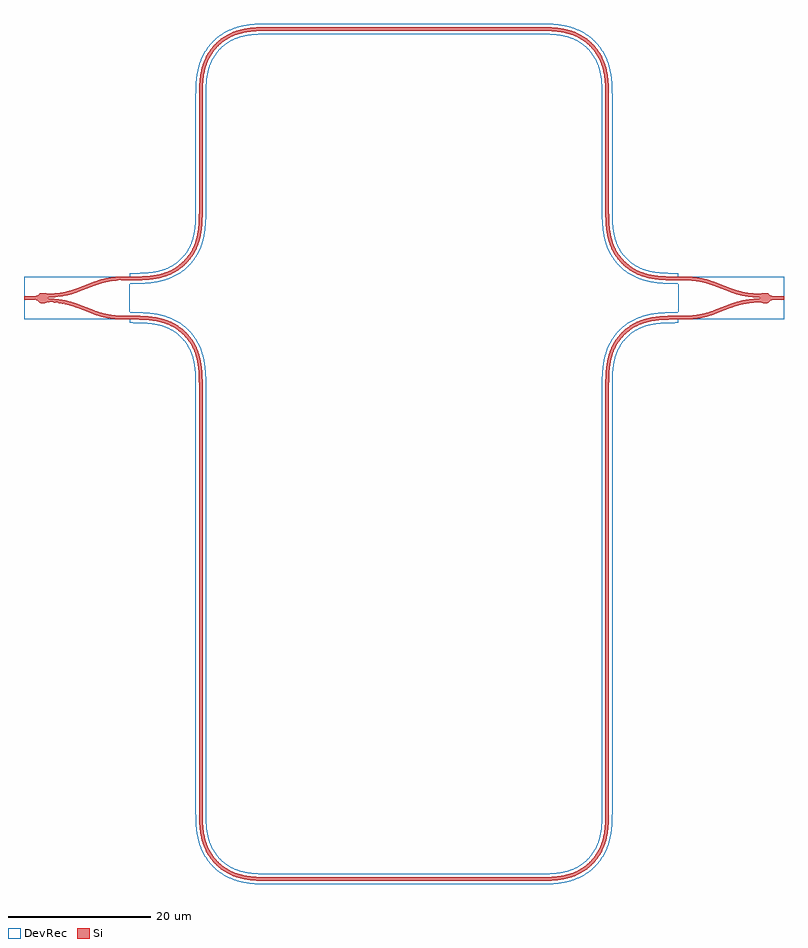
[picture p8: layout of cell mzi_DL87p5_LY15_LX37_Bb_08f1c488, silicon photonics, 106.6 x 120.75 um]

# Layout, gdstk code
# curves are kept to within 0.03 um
from math import pi, radians
import gdstk
lib = gdstk.Library(unit=1e-6, precision=1e-09)
def R(c, l, rs):  # rectangles x0, y0, x1, y1
    for r in rs: c.add(gdstk.rectangle(r[:2], r[2:], *l))
def P(c, l, *ps):  # polygons
    for p in ps: c.add(gdstk.Polygon(p, *l))
Si = (1, 0)
DevRec = (68, 0)

bend_euler_rnone_a90_p0_ = lib.new_cell('bend_euler_RNone_A90_P0_d7c3a5a9')
P(bend_euler_rnone_a90_p0_, Si, [(0,-0.25),(0,0.25),(1.655,0.269),(2.881,0.353),(3.952,0.52),(4.99,0.806),(5.731,1.113),(6.431,1.505),(7.079,1.976),(7.575,2.425),(8.024,2.921),(8.495,3.569),(8.887,4.269),(9.194,5.01),(9.48,6.048),(9.647,7.119),(9.731,8.345),(9.75,10),(10.25,10),(10.235,8.468),(10.158,7.205),(10.023,6.224),(9.797,5.254),(9.457,4.312),(9.066,3.545),(8.5,2.715),(7.928,2.072),(7.285,1.5),(6.455,0.934),(5.688,0.543),(4.746,0.203),(3.776,-0.023),(2.795,-0.158),(1.532,-0.235)])
P(bend_euler_rnone_a90_p0_, DevRec, [(0,-0.75),(0,0.75),(1.637,0.769),(2.697,0.837),(3.724,0.984),(4.466,1.163),(5.288,1.459),(5.95,1.797),(6.666,2.285),(7.221,2.779),(7.715,3.334),(8.203,4.05),(8.541,4.712),(8.837,5.534),(9.016,6.276),(9.163,7.303),(9.231,8.363),(9.25,10),(10.75,10),(10.735,8.453),(10.656,7.156),(10.488,5.989),(10.277,5.114),(9.915,4.111),(9.497,3.292),(8.893,2.406),(8.282,1.718),(7.594,1.107),(6.708,0.503),(5.889,0.085),(4.886,-0.277),(4.011,-0.488),(2.844,-0.656),(1.547,-0.735)])

straight_l15_n2_csstrip = lib.new_cell('straight_L15_N2_CSstrip')
R(straight_l15_n2_csstrip, Si, [(0,-0.25,15,0.25)])
R(straight_l15_n2_csstrip, DevRec, [(0,-0.75,15,0.75)])

straight_l58p75_n2_csstr = lib.new_cell('straight_L58p75_N2_CSstrip')
R(straight_l58p75_n2_csstr, Si, [(0,-0.25,58.75,0.25)])
R(straight_l58p75_n2_csstr, DevRec, [(0,-0.75,58.75,0.75)])

ebeam_y_1550 = lib.new_cell('ebeam_y_1550')
R(ebeam_y_1550, Si, [(6.5,-3,7.4,-2.5), (-7.4,-0.25,-6,0.25), (6.5,2.5,7.4,3)])
P(ebeam_y_1550, Si, [(6.458,-3),(6.237,-2.997),(6.237,-2.497),(6.5,-2.5),(6.5,-3)],
  [(5.033,-2.908),(3.59,-2.634),(2.265,-2.21),(2.445,-1.744),(3.731,-2.154),(5.033,-2.404)],
  [(6.233,-2.997),(5.033,-2.908),(5.033,-2.404),(6.237,-2.497)],
  [(2.265,-2.21),(0.055,-1.356),(0.235,-0.89),(2.445,-1.744)],
  [(-0.762,-1.076),(-2.334,-0.724),(-3.178,-0.63),(-4,-0.6),(-4,-0.1),(-2.381,-0.212),(-0.762,-0.555)],
  [(0.055,-1.356),(-0.762,-1.076),(-0.762,-0.555),(0.235,-0.89)],
  [(6.237,2.497),(6.237,2.997),(6.5,3),(6.5,2.5)],
  [(2.445,1.744),(2.267,2.211),(3.59,2.634),(5.033,2.908),(5.033,2.404),(3.731,2.154)],
  [(5.033,2.404),(5.033,2.908),(6.237,2.997),(6.237,2.497)],
  [(0.235,0.89),(0.055,1.356),(2.265,2.21),(2.445,1.744)],
  [(-4,0.1),(-4,0.6),(-3.178,0.63),(-2.334,0.724),(-0.762,1.076),(-0.762,0.555),(-2.381,0.212)],
  [(-0.762,0.555),(-0.762,1.076),(0.055,1.356),(0.235,0.89)],
  [(-5.122,-0.662),(-5.442,-0.374),(-5.808,-0.255),(-6,-0.25),(-6,0.25),(-5.817,0.253),(-5.442,0.374),(-5.122,0.662)],
  [(-4.957,-0.703),(-5.122,-0.662),(-5.122,0.662),(-4.538,0.703),(-4.167,0.6),(-4,0.6),(-4,-0.6),(-4.167,-0.6),(-4.509,-0.701)])
R(ebeam_y_1550, DevRec, [(-7.4,-3,7.4,3)])
ebeam_y_1550.add(gdstk.Label('Ref: Y Zhang, Opt. Express, 21/1, 2013', (-5.65,-1), layer=10, texttype=0))

straight_l37_n2_csstrip = lib.new_cell('straight_L37_N2_CSstrip')
R(straight_l37_n2_csstrip, Si, [(0,-0.25,37,0.25)])
R(straight_l37_n2_csstrip, DevRec, [(0,-0.75,37,0.75)])

mzi_dl87p5_ly15_lx37_bb_ = lib.new_cell('mzi_DL87p5_LY15_LX37_Bb_08f1c488')
mzi_dl87p5_ly15_lx37_bb_.add(gdstk.Reference(bend_euler_rnone_a90_p0_, (7.4,-2.75), x_reflection=True))
mzi_dl87p5_ly15_lx37_bb_.add(gdstk.Reference(bend_euler_rnone_a90_p0_, (17.4,-71.5), rotation=3*pi/2))
mzi_dl87p5_ly15_lx37_bb_.add(gdstk.Reference(bend_euler_rnone_a90_p0_, (7.4,2.75)))
mzi_dl87p5_ly15_lx37_bb_.add(gdstk.Reference(bend_euler_rnone_a90_p0_, (27.4,37.75), rotation=pi))
mzi_dl87p5_ly15_lx37_bb_.add(gdstk.Reference(bend_euler_rnone_a90_p0_, (74.4,27.75), rotation=pi/2))
mzi_dl87p5_ly15_lx37_bb_.add(gdstk.Reference(straight_l15_n2_csstrip, (74.4,12.75), rotation=pi/2))
mzi_dl87p5_ly15_lx37_bb_.add(gdstk.Reference(bend_euler_rnone_a90_p0_, (74.4,12.75), rotation=3*pi/2))
mzi_dl87p5_ly15_lx37_bb_.add(gdstk.Reference(bend_euler_rnone_a90_p0_, (64.4,-81.5)))
mzi_dl87p5_ly15_lx37_bb_.add(gdstk.Reference(straight_l58p75_n2_csstr, (74.4,-71.5), rotation=pi/2))
mzi_dl87p5_ly15_lx37_bb_.add(gdstk.Reference(bend_euler_rnone_a90_p0_, (84.4,-2.75), rotation=pi))
mzi_dl87p5_ly15_lx37_bb_.add(gdstk.Reference(ebeam_y_1550, (0,0)))
mzi_dl87p5_ly15_lx37_bb_.add(gdstk.Reference(straight_l15_n2_csstrip, (17.4,12.75), rotation=pi/2))
mzi_dl87p5_ly15_lx37_bb_.add(gdstk.Reference(straight_l58p75_n2_csstr, (17.4,-12.75), rotation=3*pi/2))
mzi_dl87p5_ly15_lx37_bb_.add(gdstk.Reference(straight_l37_n2_csstrip, (27.4,37.75)))
mzi_dl87p5_ly15_lx37_bb_.add(gdstk.Reference(straight_l37_n2_csstrip, (27.4,-81.5)))
mzi_dl87p5_ly15_lx37_bb_.add(gdstk.Reference(ebeam_y_1550, (91.8,0), rotation=pi, x_reflection=True))

lib.write_gds('mzi_DL87p5_LY15_LX37_Bb_08f1c488.gds')
